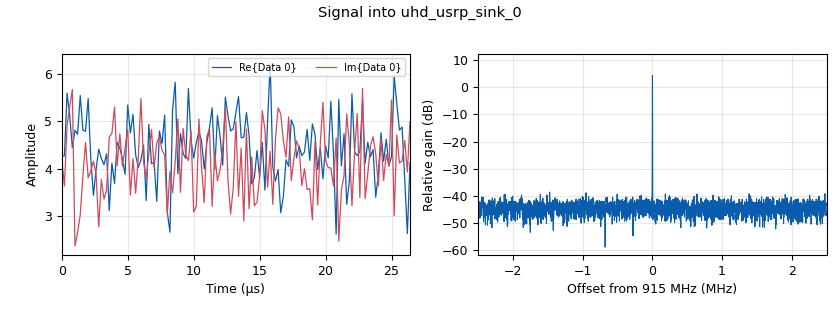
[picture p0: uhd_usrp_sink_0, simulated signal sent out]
options:
  parameters:
    generate_options: qt_gui
    id: transmitter
    output_language: python
    title: Not titled yet
  states: {}

blocks:
- name: samp_rate
  id: variable
  parameters:
    value: 5e6
  states: {}
- name: uiselect
  id: variable_qtgui_chooser
  parameters:
    gui_hint: 0,0
    label: Select Source
    label0: Signal + Noise
    label1: Noise
    label2: Signal
    num_opts: '3'
    option0: '0'
    option1: '1'
    option2: '2'
    type: int
    value: '0'
  states: {}
- name: variable_qtgui_range_0
  id: variable_qtgui_range
  parameters:
    gui_hint: 1,0
    label: GUI Gain Selector
    start: '0'
    step: '1'
    stop: '100'
    value: '50'
    widget: dial
  states: {}
- name: analog_noise_source_x_0
  id: analog_noise_source_x
  parameters:
    amp: '1'
    noise_type: analog.GR_GAUSSIAN
    seed: '0'
    type: complex
  states: {}
- name: analog_sig_source_x_0
  id: analog_sig_source_x
  parameters:
    amp: '5.62'
    freq: '915000000'
    offset: '0'
    phase: '0'
    samp_rate: samp_rate
    type: complex
    waveform: analog.GR_TRI_WAVE
  states: {}
- name: blocks_add_xx_0
  id: blocks_add_xx
  parameters:
    type: complex
  states: {}
- name: blocks_selector_0
  id: blocks_selector
  parameters:
    enabled: 'True'
    input_index: uiselect
    num_inputs: '3'
    num_outputs: '1'
    output_index: '0'
    type: complex
  states: {}
- name: uhd_usrp_sink_0
  id: uhd_usrp_sink
  parameters:
    ant0: '"TX/RX"'
    bw0: '1000000'
    center_freq0: '915000000'
    gain0: variable_qtgui_range_0
    samp_rate: samp_rate
    sync: none
    type: fc32
  states: {}

connections:
- [analog_noise_source_x_0, '0', blocks_add_xx_0, '1']
- [analog_noise_source_x_0, '0', blocks_selector_0, '1']
- [analog_sig_source_x_0, '0', blocks_add_xx_0, '0']
- [analog_sig_source_x_0, '0', blocks_selector_0, '2']
- [blocks_add_xx_0, '0', blocks_selector_0, '0']
- [blocks_selector_0, '0', uhd_usrp_sink_0, '0']

metadata:
  file_format: 1
  grc_version: 3.10.10.0
